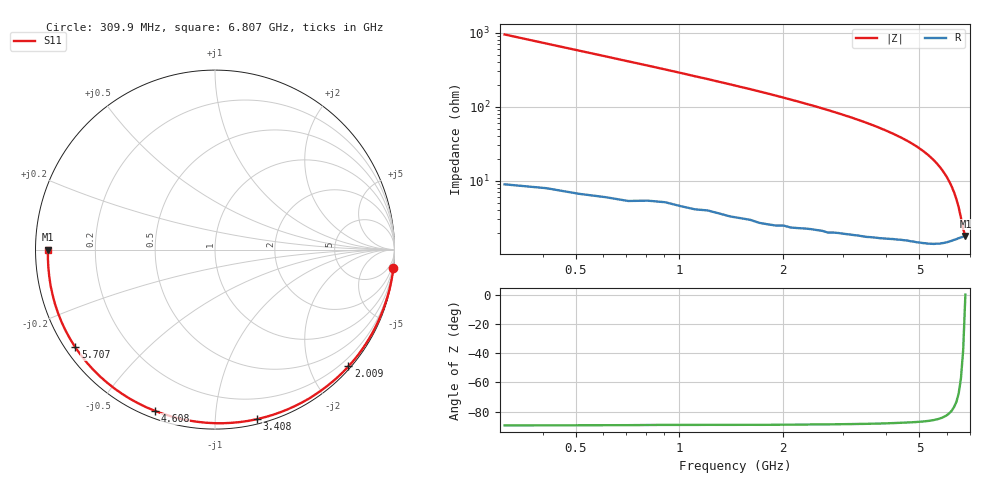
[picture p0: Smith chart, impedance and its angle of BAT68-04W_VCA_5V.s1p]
! Infineon Technologies  Discrete & RF Semiconductors
! BAT68-04W
! VCA = 5 V
! One-Port S-Parameters
# Hz  S  MA  R  50
!f  S11
!Hz  Mag  Ang
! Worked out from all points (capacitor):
!   66 points, 309.9 MHz to 6.807 GHz, reference 50 ohm
!   read as one part to ground: C = 540 fF near 309.9 MHz
!   lowest |Z| = 1.8 ohm at 6.807 GHz (marker M1)
!   series resonance near 6.806 GHz, so ESL is about 1 nH
!   S11 on the Smith chart (normalised r, x): 309.9 MHz: 0, -19; 2.009 GHz: 0.05, -2.66; 3.408 GHz: 0.04, -1.27; 4.608 GHz: 0.03, -0.69; 5.707 GHz: 0.03, -0.31; 6.807 GHz: 0.04, +0.00
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3.0985e8  0.999 -6.0
7.0965e8  0.9969 -13.9
1.0095e9  0.9947 -19.8
1.2094e9  0.9932 -23.8
1.6092e9  0.9909 -32.2
1.8091e9  0.9899 -36.6
2.009e9  0.9878 -41.2
2.2089e9  0.9862 -45.8
2.4088e9  0.9839 -50.6
2.8086e9  0.9799 -60.5
3.10845e9  0.9765 -68.2
3.4083e9  0.9732 -76.2
3.6082e9  0.9708 -81.7
3.8081e9  0.9684 -87.3
4.008e9  0.9659 -93.0
4.2079e9  0.9632 -98.7
4.4078e9  0.9608 -104.6
4.6077e9  0.9587 -110.5
4.90755e9  0.9568 -119.6
5.2074e9  0.9545 -129.0
5.50725e9  0.9521 -138.5
5.70715e9  0.95 -145.0
5.90705e9  0.947 -151.5
6.007e9  0.9454 -154.8
6.2069e9  0.9416 -161.2
6.4068e9  0.9378 -167.6
6.6067e9  0.9338 -173.9
6.8066e9  0.9307 180.0
